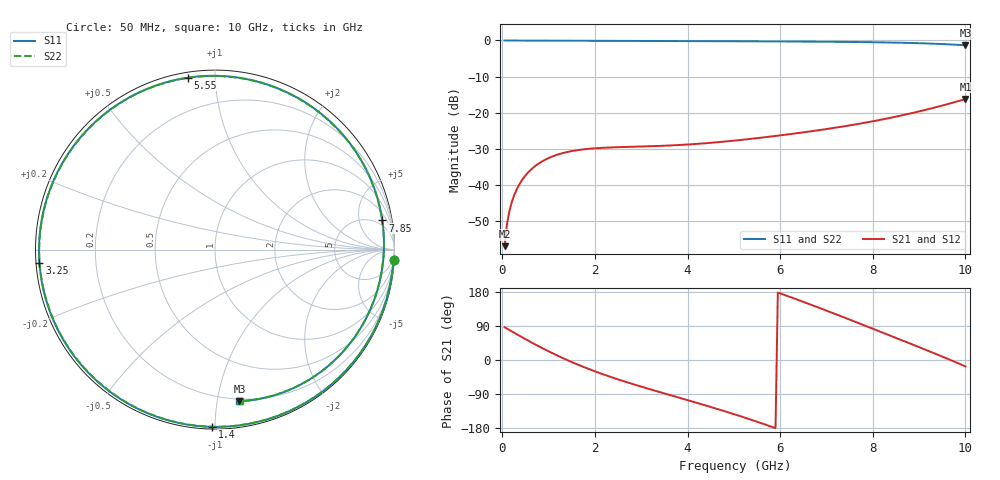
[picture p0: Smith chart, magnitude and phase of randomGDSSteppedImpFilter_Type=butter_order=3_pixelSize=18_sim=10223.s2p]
! freq	dB(S11)	phase(S11)	dB(S12)	phase(S12)
!  dB(S21)	phase(S21)	dB(S22)	phase(S22)
!S-par simulation data
#  GHz  S  DB  R 50
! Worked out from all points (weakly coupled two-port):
!   200 points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, 50 MHz to 10 GHz, reference 50 ohm
!   highest |S21| = -16.23 dB at 10 GHz (marker M1); lowest = -56.9 dB at 50 MHz (marker M2)
!   lowest |S11| = -1.4 dB at 10 GHz (marker M3), VSWR 12.86, Z = 9.17 - j57.9 ohm
!   |S11| at or under -10 dB: nowhere
!   |S22| runs from -1.3 to 0.0 dB; largest |S21 - S12| = 0
!   S11 on the Smith chart (normalised r, x): 50 MHz: 1, -34; 1.4 GHz: 0.01, -0.98; 3.25 GHz: 0.01, -0.04; 5.55 GHz: 0.03, +0.85; 7.85 GHz: 3, +10; 10 GHz: 0.18, -1.16
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0.05  -0.02 -3.4  -56.91 86.4  -56.91 86.4  -0.03 -3.4
0.1  -0.04 -6.9  -50.90 82.9  -50.90 82.9  -0.04 -7.0
0.15  -0.04 -10.5  -47.41 79.3  -47.41 79.3  -0.04 -10.5
0.25  -0.04 -17.5  -43.05 72.3  -43.05 72.3  -0.05 -17.5
0.4  -0.05 -27.9  -39.15 61.9  -39.15 61.9  -0.05 -27.9
0.9  -0.08 -61.1  -33.17 29.0  -33.17 29.0  -0.08 -61.1
1.4  -0.11 -90.9  -30.88 -0.1  -30.88 -0.1  -0.11 -90.9
1.75  -0.12 -109.7  -30.14 -18.1  -30.14 -18.1  -0.13 -109.6
2.5  -0.14 -145.0  -29.53 -51.2  -29.53 -51.2  -0.16 -145.0
3.25  -0.17 -175.8  -29.25 -79.4  -29.25 -79.4  -0.18 -175.7
3.4  -0.17 178.4  -29.19 -84.7  -29.19 -84.7  -0.18 178.5
4.2  -0.20 148.6  -28.63 -113.0  -28.63 -113.0  -0.21 148.6
5.05  -0.24 117.5  -27.67 -144.8  -27.67 -144.8  -0.25 117.6
5.55  -0.27 99.0  -26.97 -164.9  -26.97 -164.9  -0.27 99.1
6.1  -0.30 78.3  -26.11 171.5  -26.11 171.5  -0.31 78.4
6.7  -0.34 55.3  -25.08 144.3  -25.08 144.3  -0.35 55.4
7.3  -0.40 31.7  -23.93 116.2  -23.93 116.2  -0.41 31.9
7.85  -0.48 9.9  -22.73 89.8  -22.73 89.8  -0.48 10.0
8.35  -0.58 -10.2  -21.50 65.7  -21.50 65.7  -0.58 -10.1
8.8  -0.71 -28.6  -20.25 43.8  -20.25 43.8  -0.71 -28.4
9.25  -0.89 -47.4  -18.86 21.6  -18.86 21.6  -0.89 -47.1
10  -1.35 -80.9  -16.23 -16.9  -16.23 -16.9  -1.35 -80.5
